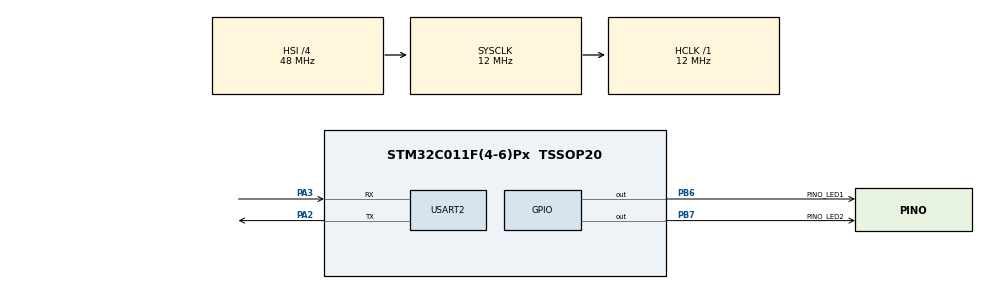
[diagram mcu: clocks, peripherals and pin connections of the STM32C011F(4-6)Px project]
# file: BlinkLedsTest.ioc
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Mcu.Family=STM32C0
Mcu.Name=STM32C011F(4-6)Px
Mcu.Package=TSSOP20
NVIC.RCC_IRQn=true\:0\:0\:false\:false\:true\:true\:false\:true
PA2.Mode=Asynchronous
PA2.Signal=USART2_TX
PA3.Mode=Asynchronous
PA3.Signal=USART2_RX
PB6.GPIO_Label=PINO_LED1
PB6.Signal=GPIO_Output
PB7.GPIO_Label=PINO_LED2
PB7.Signal=GPIO_Output
PC14-OSCX_IN\ (PC14).Mode=HSE-External-Oscillator-REMAPPED
PC14-OSCX_IN\ (PC14).Signal=RCC_OSCX_IN
PC15-OSCX_OUT\ (PC15).Mode=HSE-External-Oscillator-REMAPPED
PC15-OSCX_OUT\ (PC15).Signal=RCC_OSCX_OUT
ProjectManager.HeapSize=0x200
ProjectManager.StackSize=0x400
ProjectManager.TargetToolchain=STM32CubeIDE
RCC.ADCFreq_Value=12000000
RCC.AHBFreq_Value=12000000
RCC.CortexFreq_Value=12000000
RCC.EXTERNAL_CLOCK_VALUE=12288000
RCC.HCLKFreq_Value=12000000
RCC.HSE_VALUE=8000000
RCC.HSI_VALUE=48000000
RCC.LSE_VALUE=32768
RCC.SYSCLKFreq_VALUE=12000000
RTC.Alarm-Alarm\ A=RTC_ALARM_A
USART2.VirtualMode-Asynchronous=VM_ASYNC
VP_RTC_VS_RTC_Activate.Mode=RTC_Enabled
VP_RTC_VS_RTC_Alarm_A_Intern.Mode=Alarm A
VP_RTC_VS_RTC_Calendar.Mode=RTC_Calendar
board=custom

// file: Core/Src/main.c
/* USER CODE BEGIN Header */
/**
  ******************************************************************************
  * @file           : main.c
  * @brief          : Main program body
  ******************************************************************************
  * @attention
  *
  * Copyright (c) 2024 STMicroelectronics.
  * All rights reserved.
  *
  * This software is licensed under terms that can be found in the LICENSE file
  * in the root directory of this software component.
  * If no LICENSE file comes with this software, it is provided AS-IS.
  *
  ******************************************************************************
  */
/* USER CODE END Header */
#include "main.h"
#include <string.h>

RTC_HandleTypeDef hrtc;

UART_HandleTypeDef huart2;

/* USER CODE BEGIN PV */
#define TIMEOUT 1000
/* USER CODE END PV */

void SystemClock_Config(void);
static void MX_GPIO_Init(void);
static void MX_RTC_Init(void);
static void MX_USART2_UART_Init(void);
/* USER CODE BEGIN PFP */
void sendATCommands(void);
/* USER CODE END PFP */

int main(void)
{

  /* MCU Configuration--------------------------------------------------------*/

  /* Reset of all peripherals, Initializes the Flash interface and the Systick. */
  HAL_Init();

  /* Configure the system clock */
  SystemClock_Config();

  /* Initialize all configured peripherals */
  MX_GPIO_Init();
  MX_RTC_Init();
  MX_USART2_UART_Init();

  /* Infinite loop */
  while (1)
  {

    /* USER CODE BEGIN 3 */
	  //at comands for quectel bg95
	    sendATCommands();
  }
  /* USER CODE END 3 */
}

void SystemClock_Config(void)
{
  RCC_OscInitTypeDef RCC_OscInitStruct = {0};
  RCC_ClkInitTypeDef RCC_ClkInitStruct = {0};

  /** Initializes the RCC Oscillators according to the specified parameters
  * in the RCC_OscInitTypeDef structure.
  */
  RCC_OscInitStruct.OscillatorType = RCC_OSCILLATORTYPE_HSI|RCC_OSCILLATORTYPE_LSI;
  RCC_OscInitStruct.HSIState = RCC_HSI_ON;
  RCC_OscInitStruct.HSIDiv = RCC_HSI_DIV4;
  RCC_OscInitStruct.HSICalibrationValue = RCC_HSICALIBRATION_DEFAULT;
  RCC_OscInitStruct.LSIState = RCC_LSI_ON;

  if (HAL_RCC_OscConfig(&RCC_OscInitStruct) != HAL_OK)
  {
    Error_Handler();
  }

  /** Initializes the CPU, AHB and APB buses clocks
  */
  RCC_ClkInitStruct.ClockType = RCC_CLOCKTYPE_HCLK|RCC_CLOCKTYPE_SYSCLK
                              |RCC_CLOCKTYPE_PCLK1;
  RCC_ClkInitStruct.SYSCLKSource = RCC_SYSCLKSOURCE_HSI;
  RCC_ClkInitStruct.SYSCLKDivider = RCC_SYSCLK_DIV1;
  RCC_ClkInitStruct.AHBCLKDivider = RCC_HCLK_DIV1;
  RCC_ClkInitStruct.APB1CLKDivider = RCC_APB1_DIV1;

  if (HAL_RCC_ClockConfig(&RCC_ClkInitStruct, FLASH_LATENCY_0) != HAL_OK)
  {
    Error_Handler();
  }
}

static void MX_RTC_Init(void)
{

  RTC_TimeTypeDef sTime = {0};
  RTC_DateTypeDef sDate = {0};
  RTC_AlarmTypeDef sAlarm = {0};

  /** Initialize RTC Only
  */
  hrtc.Instance = RTC;
  hrtc.Init.HourFormat = RTC_HOURFORMAT_24;
  hrtc.Init.AsynchPrediv = 127;
  hrtc.Init.SynchPrediv = 255;
  hrtc.Init.OutPut = RTC_OUTPUT_DISABLE;
  hrtc.Init.OutPutRemap = RTC_OUTPUT_REMAP_NONE;
  hrtc.Init.OutPutPolarity = RTC_OUTPUT_POLARITY_HIGH;
  hrtc.Init.OutPutType = RTC_OUTPUT_TYPE_OPENDRAIN;
  hrtc.Init.OutPutPullUp = RTC_OUTPUT_PULLUP_NONE;
  if (HAL_RTC_Init(&hrtc) != HAL_OK)
  {
    Error_Handler();
  }

  /** Initialize RTC and set the Time and Date
  */
  sTime.Hours = 0x0;
  sTime.Minutes = 0x0;
  sTime.Seconds = 0x0;
  sTime.SubSeconds = 0x0;
  sTime.DayLightSaving = RTC_DAYLIGHTSAVING_NONE;
  sTime.StoreOperation = RTC_STOREOPERATION_RESET;
  if (HAL_RTC_SetTime(&hrtc, &sTime, RTC_FORMAT_BCD) != HAL_OK)
  {
    Error_Handler();
  }
  sDate.WeekDay = RTC_WEEKDAY_MONDAY;
  sDate.Month = RTC_MONTH_JANUARY;
  sDate.Date = 0x1;
  sDate.Year = 0x0;

  if (HAL_RTC_SetDate(&hrtc, &sDate, RTC_FORMAT_BCD) != HAL_OK)
  {
    Error_Handler();
  }

  /** Enable the Alarm A
  */
  sAlarm.AlarmTime.Hours = 0x0;
  sAlarm.AlarmTime.Minutes = 0x0;
  sAlarm.AlarmTime.Seconds = 0x0;
  sAlarm.AlarmTime.SubSeconds = 0x0;
  sAlarm.AlarmTime.DayLightSaving = RTC_DAYLIGHTSAVING_NONE;
  sAlarm.AlarmTime.StoreOperation = RTC_STOREOPERATION_RESET;
  sAlarm.AlarmMask = RTC_ALARMMASK_NONE;
  sAlarm.AlarmSubSecondMask = RTC_ALARMSUBSECONDMASK_ALL;
  sAlarm.AlarmDateWeekDaySel = RTC_ALARMDATEWEEKDAYSEL_DATE;
  sAlarm.AlarmDateWeekDay = 0x1;
  sAlarm.Alarm = RTC_ALARM_A;
  if (HAL_RTC_SetAlarm(&hrtc, &sAlarm, RTC_FORMAT_BCD) != HAL_OK)
  {
    Error_Handler();
  }

}

static void MX_USART2_UART_Init(void)
{

  huart2.Instance = USART2;
  huart2.Init.BaudRate = 115200;
  huart2.Init.WordLength = UART_WORDLENGTH_8B;
  huart2.Init.StopBits = UART_STOPBITS_1;
  huart2.Init.Parity = UART_PARITY_NONE;
  huart2.Init.Mode = UART_MODE_TX_RX;
  huart2.Init.HwFlowCtl = UART_HWCONTROL_NONE;
  huart2.Init.OverSampling = UART_OVERSAMPLING_16;
  huart2.Init.OneBitSampling = UART_ONE_BIT_SAMPLE_DISABLE;
  huart2.Init.ClockPrescaler = UART_PRESCALER_DIV1;
  huart2.AdvancedInit.AdvFeatureInit = UART_ADVFEATURE_NO_INIT;
  if (HAL_UART_Init(&huart2) != HAL_OK)
  {
    Error_Handler();
  }

}

static void MX_GPIO_Init(void)
{
  GPIO_InitTypeDef GPIO_InitStruct = {0};

  /* GPIO Ports Clock Enable */
  __HAL_RCC_GPIOB_CLK_ENABLE();
  __HAL_RCC_GPIOC_CLK_ENABLE();
  __HAL_RCC_GPIOA_CLK_ENABLE();

  /*Configure GPIO pin Output Level */
  HAL_GPIO_WritePin(GPIOB, PINO_LED2_Pin|PINO_LED1_Pin, GPIO_PIN_RESET);

  /*Configure GPIO pins : PINO_LED2_Pin PINO_LED1_Pin */
  GPIO_InitStruct.Pin = PINO_LED2_Pin|PINO_LED1_Pin;
  GPIO_InitStruct.Mode = GPIO_MODE_OUTPUT_PP;
  GPIO_InitStruct.Pull = GPIO_NOPULL;
  GPIO_InitStruct.Speed = GPIO_SPEED_FREQ_LOW;
  HAL_GPIO_Init(GPIOB, &GPIO_InitStruct);

}

/* USER CODE BEGIN 4 */
void sendATCommand(char* command, char* expectedResponse) {
    uint8_t rxBuffer[128]; // Buffer to store received data
    memset(rxBuffer, 0, sizeof(rxBuffer));

    // Send the command
    HAL_UART_Transmit(&huart2, (uint8_t*)command, strlen(command), TIMEOUT);

    // Wait for response
    HAL_UART_Receive(&huart2, rxBuffer, sizeof(rxBuffer), TIMEOUT);

    // Check if the expected response is in the received data
    if (strstr((char*)rxBuffer, expectedResponse) != NULL) {
        // Response received correctly
    } else {
        // Handle the error or unexpected response
    }
}

void sendATCommands() {
    sendATCommand("AT\r\n", "OK");                                 // Check communication
    sendATCommand("AT+CCID\r\n", "+CCID");                         // Get CCID
    sendATCommand("AT+CIMI\r\n", "724");                           // Get IMSI
    sendATCommand("AT+CFUN=0\r\n", "OK");                          // Set the functionality
    sendATCommand("AT+QCFG=\"nwscanmode\",0,1\r\n", "OK");         // Configure network scan mode
    sendATCommand("AT+QCFG=\"nwscanseq\",020103,1\r\n", "OK");     // Configure network scan sequence
    sendATCommand("AT+QCFG=\"band\",0,0\r\n", "OK");               // Configure band
    sendATCommand("AT+COPS=0\r\n", "OK");                          // Automatically select operator
    sendATCommand("AT+CGDCONT=1,\"IP\",\"gprs.oi.com.br\"\r\n", "OK");  // Set PDP context
    sendATCommand("AT+CFUN=1\r\n", "OK");                          // Set the functionality
    sendATCommand("AT+CREG=1;+CGREG=1;+CEREG=1\r\n", "OK");        // Enable network registration reporting
    sendATCommand("AT+COPS?\r\n", "+COPS");                        // Query operator selection
    sendATCommand("AT+QCSQ\r\n", "+QCSQ");                         // Query signal quality
    sendATCommand("AT+CREG?;+CEREG?;+CGREG?\r\n", "OK");           // Query network registration status
    sendATCommand("AT+CGATT=1\r\n", "OK");                         // Attach to GPRS service
    sendATCommand("AT+CGPADDR\r\n", "+CGPADDR");                   // Show PDP address
    sendATCommand("AT+QPING=1,\"100.88.219.135\"\r\n", "OK");      // Ping a specified IP address
}
/* USER CODE END 4 */

void Error_Handler(void)
{
  __disable_irq();
  while (1)
  {
  }
}
